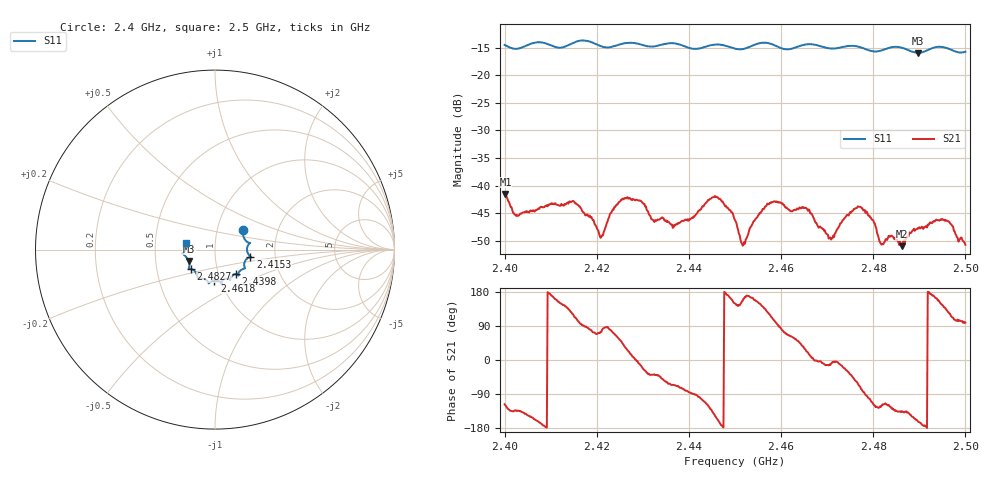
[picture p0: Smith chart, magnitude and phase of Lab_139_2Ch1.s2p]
# Hz S RI R 50
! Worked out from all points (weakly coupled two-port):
!   601 points, 2.4 GHz to 2.5 GHz, reference 50 ohm
!   highest |S21| = -41.54 dB at 2.4002 GHz (marker M1); lowest = -51.0 dB at 2.4862 GHz (marker M2)
!   lowest |S11| = -15.9 dB at 2.4897 GHz (marker M3), VSWR 1.38, Z = 36.9 - j4.81 ohm
!   |S11| at or under -10 dB: start of sweep to end of sweep
!   S12 and S22 are empty: the file has one direction only
!   S11 on the Smith chart (normalised r, x): 2.4 GHz: 1.33, +0.29; 2.4153 GHz: 1.48, -0.12; 2.4398 GHz: 1.21, -0.34; 2.4618 GHz: 0.94, -0.33; 2.4827 GHz: 0.75, -0.17; 2.5 GHz: 0.72, +0.06
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2.4e9  0.1555 0.1066  -0.00377 -0.00747  0 0  0 0
2.400167e9  0.1552 0.1043  -0.00413 -0.00728  0 0  0 0
2.402667e9  0.1621 0.0639  -0.00381 -0.00384  0 0  0 0
2.415333e9  0.1967 -0.0394  -0.00261 0.00637  0 0  0 0
2.416667e9  0.2024 -0.0433  -0.000469 0.00611  0 0  0 0
2.421e9  0.1752 -0.0534  0.00093 0.00333  0 0  0 0
2.426167e9  0.1672 -0.1022  0.00646 0.00424  0 0  0 0
2.433333e9  0.1298 -0.1337  0.00376 -0.00315  0 0  0 0
2.439833e9  0.1156 -0.1358  0.00054 -0.00476  0 0  0 0
2.445667e9  0.084 -0.1704  -0.00676 -0.00435  0 0  0 0
2.45e9  0.0653 -0.1621  -0.00419 0.00251  0 0  0 0
2.451833e9  0.046 -0.1673  -0.00276 0.000914  0 0  0 0
2.457e9  0.0392 -0.1929  -0.00414 0.00547  0 0  0 0
2.461833e9  -0.00317 -0.1727  0.00265 0.00538  0 0  0 0
2.466667e9  -0.0347 -0.1882  0.00549 0.000538  0 0  0 0
2.470833e9  -0.0567 -0.1657  0.00319 -0.000557  0 0  0 0
2.477167e9  -0.0971 -0.1516  0.00209 -0.00607  0 0  0 0
2.482667e9  -0.135 -0.1086  -0.00134 -0.00295  0 0  0 0
2.483333e9  -0.1401 -0.1081  -0.00167 -0.00308  0 0  0 0
2.486167e9  -0.1455 -0.1029  -0.002 -0.002  0 0  0 0
2.489667e9  -0.1468 -0.0635  -0.0039 -0.00132  0 0  0 0
2.5e9  -0.1592 0.0385  -0.000441 0.00287  0 0  0 0
